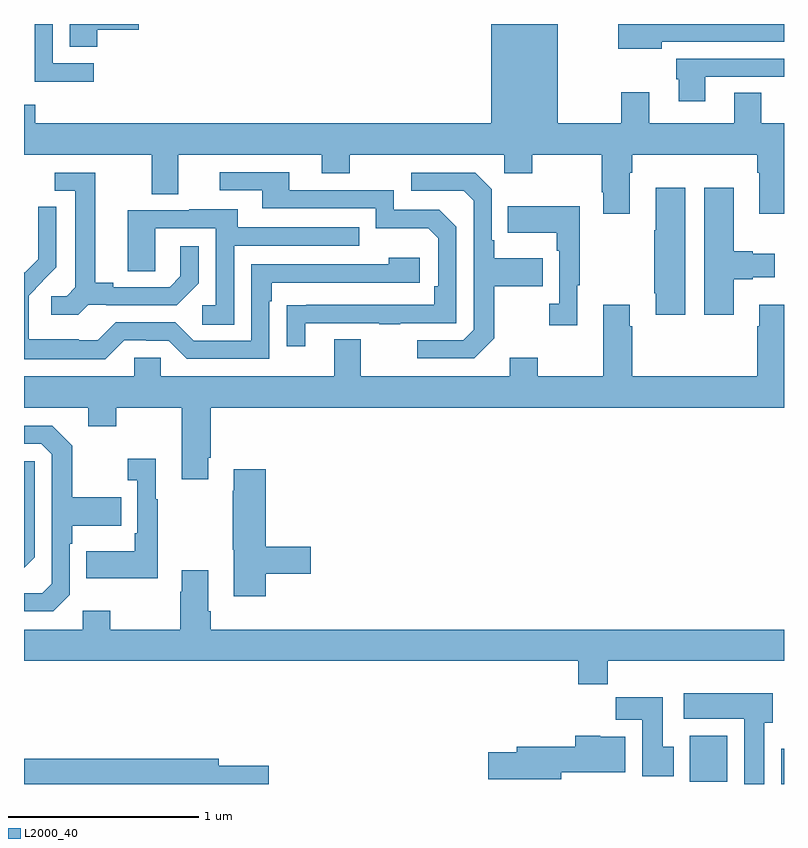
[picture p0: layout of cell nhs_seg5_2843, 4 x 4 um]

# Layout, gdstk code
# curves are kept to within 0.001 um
import gdstk
lib = gdstk.Library(unit=1e-6, precision=1e-09)
def R(c, l, rs):  # rectangles x0, y0, x1, y1
    for r in rs: c.add(gdstk.rectangle(r[:2], r[2:], *l))
def P(c, l, *ps):  # polygons
    for p in ps: c.add(gdstk.Polygon(p, *l))
L2000_40 = (2000, 40)

nhs_seg5_2843 = lib.new_cell('nhs_seg5_2843')
R(nhs_seg5_2843, L2000_40, [(280.985,834.799,281,834.984), (280.505,834.812,280.702,835.054)])
P(nhs_seg5_2843, L2000_40, [(279.808,838.799),(279.458,838.799),(279.458,838.276),(277.058,838.276),(277.058,838.375),(277,838.375),(277,838.112),(277.673,838.112),(277.673,837.904),(277.813,837.904),(277.813,838.112),(278.567,838.112),(278.567,838.013),(278.715,838.013),(278.715,838.112),(279.528,838.112),(279.528,838.013),(279.675,838.013),(279.675,838.112),(280.042,838.112),(280.042,837.913),(280.049,837.913),(280.049,837.801),(280.189,837.801),(280.189,838.016),(280.202,838.016),(280.202,838.112),(280.859,838.112),(280.859,838.016),(280.871,838.016),(280.871,837.801),(281,837.801),(281,838.276),(280.879,838.276),(280.879,838.436),(280.739,838.436),(280.739,838.276),(280.291,838.276),(280.291,838.441),(280.144,838.441),(280.144,838.276),(279.808,838.276)],
  [(280.357,838.706),(281,838.706),(281,838.799),(280.128,838.799),(280.128,838.67),(280.357,838.67)],
  [(277.385,838.769),(277.603,838.769),(277.603,838.799),(277.241,838.799),(277.241,838.678),(277.385,838.678)],
  [(277.366,838.593),(277.152,838.593),(277.152,838.799),(277.056,838.799),(277.056,838.495),(277.366,838.495)],
  [(280.585,838.521),(281,838.521),(281,838.617),(280.433,838.617),(280.433,838.509),(280.445,838.509),(280.445,838.392),(280.585,838.392)],
  [(278.479,837.225),(278.869,837.225),(278.869,837.22),(278.981,837.22),(278.981,837.225),(279.276,837.225),(279.276,837.732),(279.186,837.822),(278.946,837.822),(278.946,837.924),(278.395,837.924),(278.395,838.02),(278.031,838.02),(278.031,837.924),(278.255,837.924),(278.255,837.828),(278.85,837.828),(278.85,837.725),(279.127,837.725),(279.18,837.672),(279.18,837.418),(279.16,837.418),(279.16,837.321),(278.383,837.32),(278.383,837.102),(278.479,837.102)],
  [(279.475,837.145),(279.475,837.418),(279.731,837.418),(279.731,837.565),(279.475,837.565),(279.475,837.661),(279.462,837.661),(279.462,837.93),(279.375,838.017),(279.039,838.017),(279.039,837.921),(279.315,837.921),(279.366,837.87),(279.366,837.189),(279.312,837.135),(279.069,837.135),(279.069,837.039),(279.369,837.039)],
  [(277.338,837.321),(277.432,837.321),(277.432,837.318),(277.804,837.318),(277.92,837.434),(277.92,837.628),(277.823,837.628),(277.823,837.471),(277.766,837.414),(277.471,837.414),(277.471,837.437),(277.375,837.437),(277.375,838.017),(277.161,838.017),(277.161,837.921),(277.271,837.921),(277.271,837.413),(277.224,837.366),(277.143,837.366),(277.143,837.269),(277.286,837.269)],
  [(280.735,837.455),(280.835,837.455),(280.835,837.467),(280.951,837.467),(280.951,837.589),(280.835,837.589),(280.835,837.602),(280.735,837.602),(280.735,837.937),(280.58,837.937),(280.58,837.27),(280.735,837.27)],
  [(280.48,837.937),(280.325,837.937),(280.325,837.713),(280.318,837.713),(280.318,837.382),(280.325,837.382),(280.325,837.27),(280.48,837.27)],
  [(279.913,837.425),(279.925,837.425),(279.925,837.841),(279.547,837.841),(279.547,837.701),(279.804,837.701),(279.804,837.605),(279.816,837.605),(279.816,837.326),(279.765,837.326),(279.765,837.213),(279.913,837.213)],
  [(277.527,837.135),(277.643,837.135),(277.643,837.132),(277.761,837.132),(277.857,837.036),(278.292,837.036),(278.292,837.341),(278.305,837.341),(278.305,837.438),(279.082,837.438),(279.082,837.568),(278.921,837.568),(278.921,837.534),(278.196,837.534),(278.196,837.132),(277.893,837.132),(277.797,837.228),(277.482,837.228),(277.389,837.135),(277.289,837.135),(277.289,837.139),(277.026,837.139),(277.026,837.273),(277.024,837.273),(277.024,837.37),(277.17,837.518),(277.17,837.836),(277.074,837.836),(277.074,837.682),(277.076,837.682),(277.076,837.56),(277.005,837.489),(277.002,837.492),(277,837.49),(277,837.035),(277.427,837.035)],
  [(278.106,837.633),(278.765,837.633),(278.765,837.729),(278.125,837.729),(278.125,837.823),(277.871,837.823),(277.871,837.819),(277.547,837.819),(277.547,837.499),(277.692,837.499),(277.692,837.723),(278.01,837.723),(278.01,837.318),(277.938,837.318),(277.938,837.217),(278.106,837.217)],
  [(281,837.322),(280.871,837.322),(280.871,837.209),(280.859,837.209),(280.859,836.944),(280.202,836.944),(280.202,837.209),(280.189,837.209),(280.189,837.322),(280.049,837.322),(280.049,836.944),(279.705,836.944),(279.705,837.043),(279.557,837.043),(279.557,836.944),(278.773,836.944),(278.773,837.139),(278.633,837.139),(278.633,836.944),(277.719,836.944),(277.719,837.042),(277.581,837.042),(277.581,836.944),(277,836.944),(277,836.78),(277.337,836.78),(277.337,836.681),(277.485,836.681),(277.485,836.78),(277.829,836.78),(277.829,836.403),(277.969,836.403),(277.969,836.515),(277.982,836.515),(277.982,836.78),(281,836.78)],
  [(277.242,835.794),(277.242,836.063),(277.255,836.063),(277.255,836.159),(277.511,836.159),(277.511,836.307),(277.255,836.307),(277.255,836.579),(277.149,836.685),(277,836.685),(277,836.589),(277.092,836.589),(277.146,836.535),(277.146,835.854),(277.095,835.803),(277,835.803),(277,835.707),(277.155,835.707)],
  [(277.705,836.299),(277.693,836.299),(277.693,836.512),(277.545,836.512),(277.545,836.399),(277.596,836.399),(277.596,836.119),(277.584,836.119),(277.584,836.023),(277.327,836.023),(277.327,835.883),(277.705,835.883)],
  [(277.056,835.992),(277.056,836.499),(277,836.499),(277,835.936)],
  [(278.273,835.906),(278.509,835.906),(278.509,836.048),(278.273,836.048),(278.273,836.455),(278.105,836.455),(278.105,836.342),(278.098,836.342),(278.098,836.031),(278.105,836.031),(278.105,835.788),(278.273,835.788)],
  [(280.073,835.448),(281,835.448),(281,835.612),(277.982,835.612),(277.982,835.708),(277.969,835.708),(277.969,835.924),(277.829,835.924),(277.829,835.811),(277.822,835.811),(277.822,835.612),(277.455,835.612),(277.455,835.711),(277.308,835.711),(277.308,835.612),(277,835.612),(277,835.448),(279.917,835.448),(279.917,835.324),(280.073,835.324)],
  [(280.897,835.122),(280.942,835.122),(280.942,835.276),(280.473,835.276),(280.473,835.142),(280.79,835.142),(280.79,834.799),(280.897,834.799)],
  [(280.42,834.996),(280.363,834.996),(280.363,835.255),(280.114,835.255),(280.114,835.136),(280.253,835.136),(280.253,834.84),(280.42,834.84)],
  [(279.828,834.86),(280.165,834.86),(280.165,835.048),(280.032,835.048),(280.032,835.054),(279.902,835.054),(279.902,834.996),(279.593,834.996),(279.593,834.966),(279.444,834.966),(279.444,834.824),(279.828,834.824)],
  [(278.287,834.896),(278.026,834.896),(278.026,834.932),(277,834.932),(277,834.799),(278.287,834.799)])

lib.write_gds('nhs_seg5_2843.gds')
